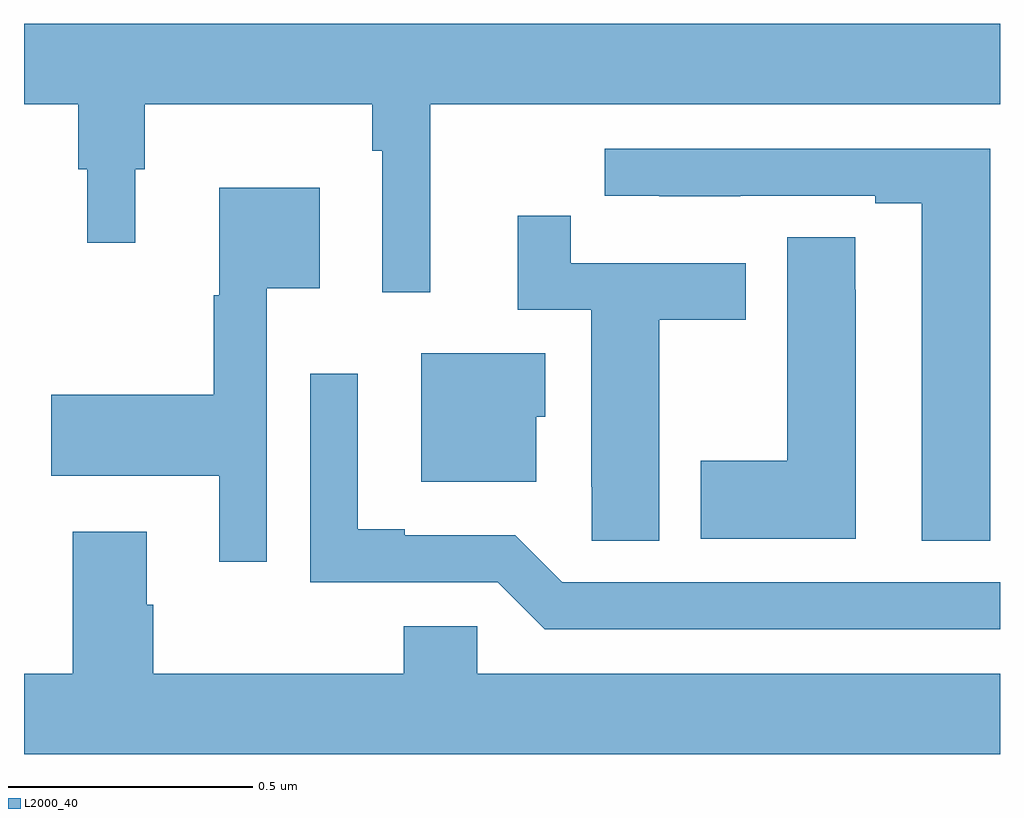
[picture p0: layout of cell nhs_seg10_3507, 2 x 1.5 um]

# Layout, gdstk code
import gdstk
lib = gdstk.Library(unit=1e-6, precision=1e-09)
def P(c, l, *ps):  # polygons
    for p in ps: c.add(gdstk.Polygon(p, *l))
L2000_40 = (2000, 40)

nhs_seg10_3507 = lib.new_cell('nhs_seg10_3507')
P(nhs_seg10_3507, L2000_40, [(154.832,1296.32),(156,1296.32),(156,1296.484),(154,1296.484),(154,1296.32),(154.111,1296.32),(154.111,1296.186),(154.13,1296.186),(154.13,1296.036),(154.228,1296.036),(154.228,1296.186),(154.247,1296.186),(154.247,1296.32),(154.714,1296.32),(154.714,1296.224),(154.734,1296.224),(154.734,1295.934),(154.832,1295.934)],
  [(155.98,1296.228),(155.19,1296.228),(155.19,1296.132),(155.302,1296.132),(155.302,1296.131),(155.468,1296.131),(155.468,1296.132),(155.744,1296.132),(155.744,1296.117),(155.84,1296.117),(155.84,1295.425),(155.98,1295.425)],
  [(154.497,1295.942),(154.606,1295.942),(154.606,1296.148),(154.4,1296.148),(154.4,1295.928),(154.389,1295.928),(154.389,1295.724),(154.056,1295.724),(154.056,1295.558),(154.4,1295.558),(154.4,1295.382),(154.497,1295.382)],
  [(155.302,1295.878),(155.479,1295.878),(155.479,1295.994),(155.12,1295.994),(155.12,1296.091),(155.012,1296.091),(155.012,1295.898),(155.162,1295.898),(155.162,1295.536),(155.163,1295.536),(155.163,1295.425),(155.302,1295.425)],
  [(155.704,1295.939),(155.703,1295.939),(155.703,1296.047),(155.564,1296.047),(155.564,1295.589),(155.387,1295.589),(155.387,1295.429),(155.704,1295.429)],
  [(155.05,1295.679),(155.068,1295.679),(155.068,1295.809),(154.814,1295.809),(154.814,1295.546),(155.05,1295.546)],
  [(156,1295.34),(155.103,1295.34),(155.007,1295.436),(154.78,1295.436),(154.78,1295.449),(154.684,1295.449),(154.684,1295.767),(154.587,1295.767),(154.587,1295.34),(154.971,1295.34),(155.067,1295.244),(156,1295.244)],
  [(156,1295.152),(154.929,1295.152),(154.929,1295.25),(154.778,1295.25),(154.778,1295.152),(154.265,1295.152),(154.265,1295.294),(154.252,1295.294),(154.252,1295.443),(154.1,1295.443),(154.1,1295.152),(154,1295.152),(154,1294.988),(156,1294.988)])

lib.write_gds('nhs_seg10_3507.gds')
